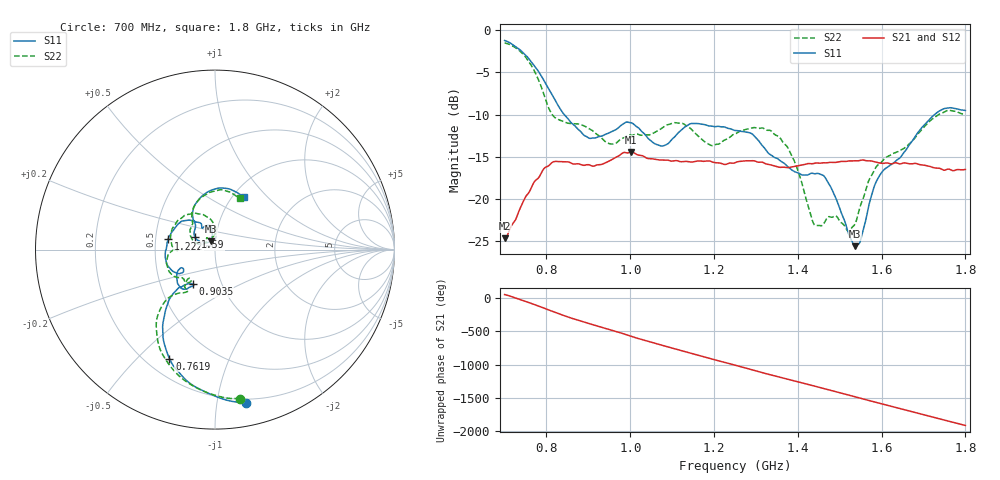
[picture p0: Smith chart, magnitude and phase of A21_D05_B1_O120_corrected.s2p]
! Created with skrf 1.9.0 (http://scikit-rf.org).
# Hz S RI R 50.0
!freq ReS11 ImS11 ReS21 ImS21 ReS12 ImS12 ReS22 ImS22
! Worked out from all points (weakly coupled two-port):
!   1601 points, 700 MHz to 1.8 GHz, reference 50 ohm
!   highest |S21| = -14.42 dB at 1.002 GHz (marker M1); lowest = -24.6 dB at 701.4 MHz (marker M2)
!   lowest |S11| = -25.6 dB at 1.537 GHz (marker M3), VSWR 1.11, Z = 47.4 + j4.44 ohm
!   |S11| at or under -10 dB: 842.5 MHz to 1.726 GHz (883.8 MHz wide, 68.8 % of centre)
!   |S22| runs from -23.8 to -1.5 dB; largest |S21 - S12| = 0.0035
!   S11 on the Smith chart (normalised r, x): 700 MHz: 0.17, -1.21; 761.9 MHz: 0.29, -0.63; 903.5 MHz: 0.73, -0.29; 1.222 GHz: 0.58, +0.07; 1.59 GHz: 0.79, +0.11; 1.8 GHz: 1.13, +0.74
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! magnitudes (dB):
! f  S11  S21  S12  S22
! 700 MHz  -1.2  -24.6  -24.4  -1.5
! 701.4 MHz  -1.2  -24.6  -24.2  -1.5
! 761.9 MHz  -3.6  -18.9  -18.8  -4.0
! 816.2 MHz  -7.9  -15.6  -15.7  -10.2
! 883.6 MHz  -12.1  -15.9  -15.8  -11.2
! 903.5 MHz  -12.8  -16.0  -15.9  -11.7
! 953 MHz  -12.1  -15.4  -15.4  -13.5
! 1.002 GHz  -11.0  -14.4  -14.5  -12.4
! 1.067 GHz  -13.6  -15.3  -15.3  -11.9
! 1.144 GHz  -11.1  -15.6  -15.6  -11.6
! 1.222 GHz  -11.4  -15.9  -15.9  -13.1
! 1.25 GHz  -11.9  -15.7  -15.6  -12.3
! 1.357 GHz  -15.4  -16.2  -16.2  -12.7
! 1.394 GHz  -16.8  -16.1  -16.1  -15.8
! 1.434 GHz  -16.9  -15.8  -15.8  -22.4
! 1.471 GHz  -17.9  -15.7  -15.7  -22.2
! 1.537 GHz  -25.6  -15.5  -15.5  -22.9
! 1.55 GHz  -24.9  -15.4  -15.4  -20.7
! 1.59 GHz  -17.6  -15.7  -15.7  -16.0
! 1.617 GHz  -16.1  -15.8  -15.7  -14.9
! 1.733 GHz  -9.7  -16.3  -16.4  -10.1
! 1.8 GHz  -9.5  -16.5  -16.5  -10.0
